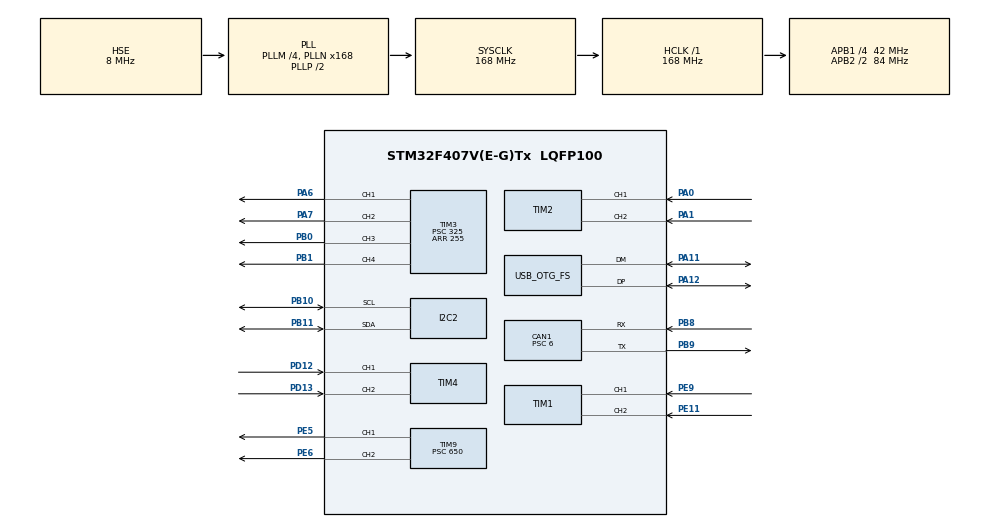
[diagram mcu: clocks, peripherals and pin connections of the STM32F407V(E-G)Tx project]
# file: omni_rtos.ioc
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CAN1.BS1=CAN_BS1_11TQ
CAN1.BS2=CAN_BS2_2TQ
CAN1.CalculateBaudRate=500000
CAN1.CalculateTimeBit=2000
CAN1.CalculateTimeQuantum=142.85714285714286
CAN1.Prescaler=6
FREERTOS.BinarySemaphores01=canBinarySem,Dynamic,NULL,Available
FREERTOS.Tasks01=imuTask,40,128,StartIMUTask,Default,NULL,Dynamic,NULL,NULL;canTask,40,128,StartCANTask,Default,NULL,Dynamic,NULL,NULL;pidTask,40,128,StartpidTask,Default,NULL,Dynamic,NULL,NULL;motorTask,8,128,StartmotorTask,Default,NULL,Dynamic,NULL,NULL;printTask,8,1024,StartprintTask,Default,NULL,Dynamic,NULL,NULL
Mcu.Family=STM32F4
Mcu.Name=STM32F407V(E-G)Tx
Mcu.Package=LQFP100
NVIC.CAN1_RX0_IRQn=true\:5\:0\:false\:false\:true\:true\:true\:true\:true
NVIC.OTG_FS_IRQn=true\:5\:0\:false\:false\:true\:true\:false\:true\:true
NVIC.PriorityGroup=NVIC_PRIORITYGROUP_4
NVIC.TIM5_IRQn=true\:5\:0\:false\:false\:true\:true\:true\:true\:true
NVIC.TIM8_TRG_COM_TIM14_IRQn=true\:15\:0\:false\:false\:true\:false\:false\:true\:true
NVIC.TimeBase=TIM8_TRG_COM_TIM14_IRQn
NVIC.TimeBaseIP=TIM14
PA0-WKUP.Signal=S_TIM2_CH1_ETR
PA1.Signal=S_TIM2_CH2
PA11.Mode=Device_Only
PA11.Signal=USB_OTG_FS_DM
PA12.Mode=Device_Only
PA12.Signal=USB_OTG_FS_DP
PA13.Mode=Serial_Wire
PA13.Signal=SYS_JTMS-SWDIO
PA14.Mode=Serial_Wire
PA14.Signal=SYS_JTCK-SWCLK
PA6.Signal=S_TIM3_CH1
PA7.Signal=S_TIM3_CH2
PB0.Signal=S_TIM3_CH3
PB1.Signal=S_TIM3_CH4
PB10.Mode=I2C
PB10.Signal=I2C2_SCL
PB11.Mode=I2C
PB11.Signal=I2C2_SDA
PB8.Mode=CAN_Activate
PB8.Signal=CAN1_RX
PB9.Mode=CAN_Activate
PB9.Signal=CAN1_TX
PC14-OSC32_IN.Mode=LSE-External-Oscillator
PC14-OSC32_IN.Signal=RCC_OSC32_IN
PC15-OSC32_OUT.Mode=LSE-External-Oscillator
PC15-OSC32_OUT.Signal=RCC_OSC32_OUT
PD12.Signal=S_TIM4_CH1
PD13.Signal=S_TIM4_CH2
PE11.Signal=S_TIM1_CH2
PE5.Signal=S_TIM9_CH1
PE6.Signal=S_TIM9_CH2
PE9.Signal=S_TIM1_CH1
PH0-OSC_IN.Mode=HSE-External-Oscillator
PH0-OSC_IN.Signal=RCC_OSC_IN
PH1-OSC_OUT.Mode=HSE-External-Oscillator
PH1-OSC_OUT.Signal=RCC_OSC_OUT
ProjectManager.HeapSize=0x200
ProjectManager.StackSize=0x400
ProjectManager.TargetToolchain=STM32CubeIDE
RCC.48MHZClocksFreq_Value=48000000
RCC.AHBFreq_Value=168000000
RCC.APB1CLKDivider=RCC_HCLK_DIV4
RCC.APB1Freq_Value=42000000
RCC.APB1TimFreq_Value=84000000
RCC.APB2CLKDivider=RCC_HCLK_DIV2
RCC.APB2Freq_Value=84000000
RCC.APB2TimFreq_Value=168000000
RCC.CortexFreq_Value=168000000
RCC.HCLKFreq_Value=168000000
RCC.HSE_VALUE=8000000
RCC.HSI_VALUE=16000000
RCC.PLLM=4
RCC.PLLN=168
RCC.PLLQ=7
RCC.SYSCLKFreq_VALUE=168000000
RCC.SYSCLKSource=RCC_SYSCLKSOURCE_PLLCLK
RCC.VCOOutputFreq_Value=336000000
SH.S_TIM1_CH1.0=TIM1_CH1,Encoder_Interface
SH.S_TIM1_CH2.0=TIM1_CH2,Encoder_Interface
SH.S_TIM2_CH1_ETR.0=TIM2_CH1,Encoder_Interface
SH.S_TIM2_CH2.0=TIM2_CH2,Encoder_Interface
SH.S_TIM3_CH1.0=TIM3_CH1,PWM Generation1 CH1
SH.S_TIM3_CH2.0=TIM3_CH2,PWM Generation2 CH2
SH.S_TIM3_CH3.0=TIM3_CH3,PWM Generation3 CH3
SH.S_TIM3_CH4.0=TIM3_CH4,PWM Generation4 CH4
SH.S_TIM4_CH1.0=TIM4_CH1,Encoder_Interface
SH.S_TIM4_CH2.0=TIM4_CH2,Encoder_Interface
SH.S_TIM9_CH1.0=TIM9_CH1,PWM Generation1 CH1
SH.S_TIM9_CH2.0=TIM9_CH2,PWM Generation2 CH2
TIM1.EncoderMode=TIM_ENCODERMODE_TI12
TIM1.IC1Filter=5
TIM1.IC2Filter=5
TIM2.EncoderMode=TIM_ENCODERMODE_TI12
TIM2.IC1Filter=5
TIM2.IC2Filter=5
TIM3.Channel-PWM\ Generation1\ CH1=TIM_CHANNEL_1
TIM3.Channel-PWM\ Generation2\ CH2=TIM_CHANNEL_2
TIM3.Channel-PWM\ Generation3\ CH3=TIM_CHANNEL_3
TIM3.Channel-PWM\ Generation4\ CH4=TIM_CHANNEL_4
TIM3.Period=255
TIM3.Prescaler=325
TIM4.EncoderMode=TIM_ENCODERMODE_TI12
TIM4.IC1Filter=5
TIM5.Period=100-1
TIM5.Prescaler=8400-1
TIM9.Channel-PWM\ Generation1\ CH1=TIM_CHANNEL_1
TIM9.Channel-PWM\ Generation2\ CH2=TIM_CHANNEL_2
TIM9.Period=255
TIM9.Prescaler=650
USB_DEVICE.CLASS_NAME_FS=CDC
USB_DEVICE.VirtualMode-CDC_FS=Cdc
USB_DEVICE.VirtualModeFS=Cdc_FS
USB_OTG_FS.VirtualMode=Device_Only
VP_FREERTOS_VS_CMSIS_V2.Mode=CMSIS_V2
VP_SYS_VS_tim14.Mode=TIM14
VP_TIM3_VS_ClockSourceINT.Mode=Internal
VP_TIM5_VS_ClockSourceINT.Mode=Internal
VP_TIM9_VS_ClockSourceINT.Mode=Internal
VP_USB_DEVICE_VS_USB_DEVICE_CDC_FS.Mode=CDC_FS
board=STM32F407G-DISC1

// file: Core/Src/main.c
/* USER CODE BEGIN Header */
/**
  ******************************************************************************
  * @file           : main.c
  * @brief          : Main program body
  ******************************************************************************
  * @attention
  *
  * Copyright (c) 2026 STMicroelectronics.
  * All rights reserved.
  *
  * This software is licensed under terms that can be found in the LICENSE file
  * in the root directory of this software component.
  * If no LICENSE file comes with this software, it is provided AS-IS.
  *
  ******************************************************************************
  */
/* USER CODE END Header */
#include "main.h"
#include "cmsis_os.h"
#include "usb_device.h"

/* USER CODE BEGIN Includes */

#include<stdio.h>
#include<stdbool.h>
#include<stdint.h>
#include<string.h>
#include<math.h>
#include<stdlib.h>
//#include"Encoderlib.h"

/* USER CODE END Includes */

/* USER CODE BEGIN PD */

#define BNO055_ADDR (0x28 << 1)
#define PWR_MODE 0x3E
#define OPR_MODE 0x3D
#define EUL_DATA_START 0x1A

#define data_size 5
#define slave_addr 8

#define MAX_PWM 70
#define DEADZONE 35
#define radius 1
#define length 1
volatile int L_joystick_x = 0, L_joystick_y = 0, R_joystick_x = 0, R_joystick_y = 0;

volatile bool right;
volatile bool down;
volatile bool up;
volatile bool left;
volatile bool square;
volatile bool cross;
volatile bool circle;
volatile bool triangle;

volatile int16_t omega;
volatile bool flag = true;
volatile bool pid = false;

volatile float p, i = 0, d;
volatile float KP = 2;
volatile float KI = 0;
volatile float KD = 0.5;

volatile int pwm1, pwm2, pwm3;

volatile float target_heading = 0;
volatile float current_heading = 0;
volatile float CORRECTION = 0;

/* USER CODE END PD */

CAN_HandleTypeDef hcan1;

I2C_HandleTypeDef hi2c2;

TIM_HandleTypeDef htim1;
TIM_HandleTypeDef htim2;
TIM_HandleTypeDef htim3;
TIM_HandleTypeDef htim4;
TIM_HandleTypeDef htim5;
TIM_HandleTypeDef htim9;

/* Definitions for imuTask */
osThreadId_t imuTaskHandle;
const osThreadAttr_t imuTask_attributes = {
  .name = "imuTask",
  .stack_size = 128 * 4,
  .priority = (osPriority_t) osPriorityHigh,
};
/* Definitions for canTask */
osThreadId_t canTaskHandle;
const osThreadAttr_t canTask_attributes = {
  .name = "canTask",
  .stack_size = 128 * 4,
  .priority = (osPriority_t) osPriorityHigh,
};
/* Definitions for pidTask */
osThreadId_t pidTaskHandle;
const osThreadAttr_t pidTask_attributes = {
  .name = "pidTask",
  .stack_size = 128 * 4,
  .priority = (osPriority_t) osPriorityHigh,
};
/* Definitions for motorTask */
osThreadId_t motorTaskHandle;
const osThreadAttr_t motorTask_attributes = {
  .name = "motorTask",
  .stack_size = 128 * 4,
  .priority = (osPriority_t) osPriorityLow,
};
/* Definitions for printTask */
osThreadId_t printTaskHandle;
const osThreadAttr_t printTask_attributes = {
  .name = "printTask",
  .stack_size = 1024 * 4,
  .priority = (osPriority_t) osPriorityLow,
};
/* Definitions for canBinarySem */
osSemaphoreId_t canBinarySemHandle;
const osSemaphoreAttr_t canBinarySem_attributes = {
  .name = "canBinarySem"
};

void SystemClock_Config(void);
static void MX_GPIO_Init(void);
static void MX_CAN1_Init(void);
static void MX_TIM3_Init(void);
static void MX_TIM9_Init(void);
static void MX_TIM5_Init(void);
static void MX_I2C2_Init(void);
static void MX_TIM1_Init(void);
static void MX_TIM2_Init(void);
static void MX_TIM4_Init(void);
void StartIMUTask(void *argument);
void StartCANTask(void *argument);
void StartpidTask(void *argument);
void StartmotorTask(void *argument);
void StartprintTask(void *argument);

/* USER CODE BEGIN 0 */

CAN_FilterTypeDef sFilterConfig;
CAN_RxHeaderTypeDef RxHeader;
uint8_t RxData[8];
uint32_t blink_delay;
uint8_t msg[100];

float radians(float angle){
  	return angle*2*3.14159265358979323846/360.0;
  }

  float degrees(float angle){
  	return angle*360.0/(2*3.14159265358979323846);
  }

  long map(long x, long in_min, long in_max, long out_min, long out_max)
  {
    return (x - in_min) * (out_max - out_min) / (in_max - in_min) + out_min;
  }

  float constrain(float num, float min, float max){

  	if(num > max) {
  		return max;
  	}

  	else if(num < min){
  		return min;
  	}

  	else {
  		return num;
  	}
  }

void BNO055_init(){

  uint8_t pwr = 0x00;
  uint8_t opr = 0x0C;
  uint8_t config = 0x00;

        HAL_I2C_Mem_Write(&hi2c2, BNO055_ADDR, OPR_MODE, 1, &config, 1, 100); // setting to config mode
 	HAL_I2C_Mem_Write(&hi2c2, BNO055_ADDR, PWR_MODE, 1, &pwr, 1, 100);  // setting bno055 to normal mode
 	HAL_I2C_Mem_Write(&hi2c2, BNO055_ADDR, OPR_MODE, 1, &opr, 1, 100); // setting to Ndof mode

 	//HAL_Delay(700);

 }

 float normalise_angle(float angle)
 {
     if(angle > 180.0)  {
   	  angle -= 360.0;
     }
     if(angle < -180.0) {
   	  angle += 360.0;
     }
     return angle;
 }

 void decode_buttons(){

    static uint8_t L2;
    static uint8_t R2;

         L_joystick_x = map(RxData[0], 0, 255, 127, -127);
    		  L_joystick_y = map(RxData[1], 0, 255, 127, -127);

    		    	right = ((RxData[2] & (1 << 0)) ? 1 : 0);
    		       down = ((RxData[2] & (1 << 1)) ? 1 : 0);
    		    	     up = ((RxData[2] & (1 << 2)) ? 1 : 0);
    		    	     left = ((RxData[2] & (1 << 3)) ? 1 : 0);
    		    	     square = ((RxData[2] & (1 << 4)) ? 1 : 0);
    		    	     cross = ((RxData[2] & (1 << 5)) ? 1 : 0);
    		    	     circle = ((RxData[2] & (1 << 6)) ? 1 : 0);
    		    	     triangle = ((RxData[2] & (1 << 7)) ? 1 : 0);

    		    	     L2 = RxData[3];
    		    	     R2 = RxData[4];

    		    	     omega = map(L2-R2, -255, 255, 40, -40);

    		    	   if(abs(L_joystick_x) < DEADZONE)
    		    	 	  {
    		    	 		  L_joystick_x = 0;
    		    	 	  }
    		    	 	  if(abs(L_joystick_y) < DEADZONE)
    		    	 		  {
    		    	 			  L_joystick_y = 0;
    		    	 		  }
    		    	 	  if(abs(omega) < DEADZONE)
    		    	 		  {
    		    	 			  omega = 0;
    		    	 		  }

    				  if(omega){
    						  		  pid = false;
    						  		  flag = true;
    						  	  }

    						  	 if(!omega && flag){
    						  		 flag = false;
    						  		 pid = true;
    						  		 target_heading = current_heading;
    						  	 }

 }

 void motor1(int speed){

	  if(speed > 0){
		  TIM3->CCR1 = speed;          //PA6
		  TIM3->CCR2 = 0;               //PA7

	  }

	  else{
		  TIM3->CCR1 = 0;
		  TIM3->CCR2 = -1*speed;

	  }

 }

 void motor2(int speed){

	  if(speed > 0){
		  TIM3->CCR3 = speed;          //PB0
		  TIM3->CCR4 = 0;                //PB1

	  }

	  else{
		  TIM3->CCR3 = 0;
		  TIM3->CCR4 = -1*speed;

	  }

  }

 void motor3(int speed){

	  if(speed > 0){
		  TIM9->CCR1 = speed;     //PE5
		  TIM9->CCR2 = 0;         //PE6
	  }

	  else{
		  TIM9->CCR1 = 0;
		  TIM9->CCR2 = -1*speed;

	  }

  }

/* USER CODE END 0 */

int main(void)
{

  /* MCU Configuration--------------------------------------------------------*/

  /* Reset of all peripherals, Initializes the Flash interface and the Systick. */
  HAL_Init();

  /* Configure the system clock */
  SystemClock_Config();

  /* Initialize all configured peripherals */
  MX_GPIO_Init();
  MX_CAN1_Init();
  MX_TIM3_Init();
  MX_TIM9_Init();
  MX_TIM5_Init();
  MX_I2C2_Init();
  MX_TIM1_Init();
  MX_TIM2_Init();
  MX_TIM4_Init();
  /* USER CODE BEGIN 2 */

   sFilterConfig.FilterBank = 0;
   sFilterConfig.FilterMode = CAN_FILTERMODE_IDMASK;
   sFilterConfig.FilterScale = CAN_FILTERSCALE_32BIT;
   sFilterConfig.FilterIdHigh = 0x0000;                      //0x123 << 5 to accept only id 123
   sFilterConfig.FilterIdLow = 0x0000;
   sFilterConfig.FilterMaskIdHigh = 0x0000;                  // 0x7FF << 5 to accept only id 123
   sFilterConfig.FilterMaskIdLow = 0x0000;
   sFilterConfig.FilterFIFOAssignment = CAN_RX_FIFO0;
   sFilterConfig.FilterActivation = ENABLE;

   HAL_CAN_ConfigFilter(&hcan1, &sFilterConfig);

   // THEN start CAN
   HAL_CAN_Start(&hcan1);

   // THEN activate interrupt
    HAL_CAN_ActivateNotification(&hcan1, CAN_IT_RX_FIFO0_MSG_PENDING);

  BNO055_init();
  HAL_Delay(700);

  /* USER CODE END 2 */

  /* Init scheduler */
  osKernelInitialize();

  /* Create the semaphores(s) */
  /* creation of canBinarySem */
  canBinarySemHandle = osSemaphoreNew(1, 1, &canBinarySem_attributes);

  /* Create the thread(s) */
  /* creation of imuTask */
  imuTaskHandle = osThreadNew(StartIMUTask, NULL, &imuTask_attributes);

  /* creation of canTask */
  canTaskHandle = osThreadNew(StartCANTask, NULL, &canTask_attributes);

  /* creation of pidTask */
  pidTaskHandle = osThreadNew(StartpidTask, NULL, &pidTask_attributes);

  /* creation of motorTask */
  motorTaskHandle = osThreadNew(StartmotorTask, NULL, &motorTask_attributes);

  /* creation of printTask */
  printTaskHandle = osThreadNew(StartprintTask, NULL, &printTask_attributes);

  /* Start scheduler */
  osKernelStart();

  /* We should never get here as control is now taken by the scheduler */

  /* Infinite loop */
  while (1)
  {

  }
}

void SystemClock_Config(void)
{
  RCC_OscInitTypeDef RCC_OscInitStruct = {0};
  RCC_ClkInitTypeDef RCC_ClkInitStruct = {0};

  /** Configure the main internal regulator output voltage
  */
  __HAL_RCC_PWR_CLK_ENABLE();
  __HAL_PWR_VOLTAGESCALING_CONFIG(PWR_REGULATOR_VOLTAGE_SCALE1);

  /** Initializes the RCC Oscillators according to the specified parameters
  * in the RCC_OscInitTypeDef structure.
  */
  RCC_OscInitStruct.OscillatorType = RCC_OSCILLATORTYPE_HSE;
  RCC_OscInitStruct.HSEState = RCC_HSE_ON;
  RCC_OscInitStruct.PLL.PLLState = RCC_PLL_ON;
  RCC_OscInitStruct.PLL.PLLSource = RCC_PLLSOURCE_HSE;
  RCC_OscInitStruct.PLL.PLLM = 4;
  RCC_OscInitStruct.PLL.PLLN = 168;
  RCC_OscInitStruct.PLL.PLLP = RCC_PLLP_DIV2;
  RCC_OscInitStruct.PLL.PLLQ = 7;
  if (HAL_RCC_OscConfig(&RCC_OscInitStruct) != HAL_OK)
  {
    Error_Handler();
  }

  /** Initializes the CPU, AHB and APB buses clocks
  */
  RCC_ClkInitStruct.ClockType = RCC_CLOCKTYPE_HCLK|RCC_CLOCKTYPE_SYSCLK
                              |RCC_CLOCKTYPE_PCLK1|RCC_CLOCKTYPE_PCLK2;
  RCC_ClkInitStruct.SYSCLKSource = RCC_SYSCLKSOURCE_PLLCLK;
  RCC_ClkInitStruct.AHBCLKDivider = RCC_SYSCLK_DIV1;
  RCC_ClkInitStruct.APB1CLKDivider = RCC_HCLK_DIV4;
  RCC_ClkInitStruct.APB2CLKDivider = RCC_HCLK_DIV2;

  if (HAL_RCC_ClockConfig(&RCC_ClkInitStruct, FLASH_LATENCY_5) != HAL_OK)
  {
    Error_Handler();
  }
}

static void MX_CAN1_Init(void)
{

  hcan1.Instance = CAN1;
  hcan1.Init.Prescaler = 6;
  hcan1.Init.Mode = CAN_MODE_NORMAL;
  hcan1.Init.SyncJumpWidth = CAN_SJW_1TQ;
  hcan1.Init.TimeSeg1 = CAN_BS1_11TQ;
  hcan1.Init.TimeSeg2 = CAN_BS2_2TQ;
  hcan1.Init.TimeTriggeredMode = DISABLE;
  hcan1.Init.AutoBusOff = DISABLE;
  hcan1.Init.AutoWakeUp = DISABLE;
  hcan1.Init.AutoRetransmission = DISABLE;
  hcan1.Init.ReceiveFifoLocked = DISABLE;
  hcan1.Init.TransmitFifoPriority = DISABLE;
  if (HAL_CAN_Init(&hcan1) != HAL_OK)
  {
    Error_Handler();
  }

}

static void MX_I2C2_Init(void)
{

  hi2c2.Instance = I2C2;
  hi2c2.Init.ClockSpeed = 100000;
  hi2c2.Init.DutyCycle = I2C_DUTYCYCLE_2;
  hi2c2.Init.OwnAddress1 = 0;
  hi2c2.Init.AddressingMode = I2C_ADDRESSINGMODE_7BIT;
  hi2c2.Init.DualAddressMode = I2C_DUALADDRESS_DISABLE;
  hi2c2.Init.OwnAddress2 = 0;
  hi2c2.Init.GeneralCallMode = I2C_GENERALCALL_DISABLE;
  hi2c2.Init.NoStretchMode = I2C_NOSTRETCH_DISABLE;
  if (HAL_I2C_Init(&hi2c2) != HAL_OK)
  {
    Error_Handler();
  }

}

static void MX_TIM1_Init(void)
{

  TIM_Encoder_InitTypeDef sConfig = {0};
  TIM_MasterConfigTypeDef sMasterConfig = {0};

  htim1.Instance = TIM1;
  htim1.Init.Prescaler = 0;
  htim1.Init.CounterMode = TIM_COUNTERMODE_UP;
  htim1.Init.Period = 65535;
  htim1.Init.ClockDivision = TIM_CLOCKDIVISION_DIV1;
  htim1.Init.RepetitionCounter = 0;
  htim1.Init.AutoReloadPreload = TIM_AUTORELOAD_PRELOAD_DISABLE;
  sConfig.EncoderMode = TIM_ENCODERMODE_TI12;
  sConfig.IC1Polarity = TIM_ICPOLARITY_RISING;
  sConfig.IC1Selection = TIM_ICSELECTION_DIRECTTI;
  sConfig.IC1Prescaler = TIM_ICPSC_DIV1;
  sConfig.IC1Filter = 5;
  sConfig.IC2Polarity = TIM_ICPOLARITY_RISING;
  sConfig.IC2Selection = TIM_ICSELECTION_DIRECTTI;
  sConfig.IC2Prescaler = TIM_ICPSC_DIV1;
  sConfig.IC2Filter = 5;
  if (HAL_TIM_Encoder_Init(&htim1, &sConfig) != HAL_OK)
  {
    Error_Handler();
  }
  sMasterConfig.MasterOutputTrigger = TIM_TRGO_RESET;
  sMasterConfig.MasterSlaveMode = TIM_MASTERSLAVEMODE_DISABLE;
  if (HAL_TIMEx_MasterConfigSynchronization(&htim1, &sMasterConfig) != HAL_OK)
  {
    Error_Handler();
  }

}

static void MX_TIM2_Init(void)
{

  TIM_Encoder_InitTypeDef sConfig = {0};
  TIM_MasterConfigTypeDef sMasterConfig = {0};

  htim2.Instance = TIM2;
  htim2.Init.Prescaler = 0;
  htim2.Init.CounterMode = TIM_COUNTERMODE_UP;
  htim2.Init.Period = 4294967295;
  htim2.Init.ClockDivision = TIM_CLOCKDIVISION_DIV1;
  htim2.Init.AutoReloadPreload = TIM_AUTORELOAD_PRELOAD_DISABLE;
  sConfig.EncoderMode = TIM_ENCODERMODE_TI12;
  sConfig.IC1Polarity = TIM_ICPOLARITY_RISING;
  sConfig.IC1Selection = TIM_ICSELECTION_DIRECTTI;
  sConfig.IC1Prescaler = TIM_ICPSC_DIV1;
  sConfig.IC1Filter = 5;
  sConfig.IC2Polarity = TIM_ICPOLARITY_RISING;
  sConfig.IC2Selection = TIM_ICSELECTION_DIRECTTI;
  sConfig.IC2Prescaler = TIM_ICPSC_DIV1;
  sConfig.IC2Filter = 5;
  if (HAL_TIM_Encoder_Init(&htim2, &sConfig) != HAL_OK)
  {
    Error_Handler();
  }
  sMasterConfig.MasterOutputTrigger = TIM_TRGO_RESET;
  sMasterConfig.MasterSlaveMode = TIM_MASTERSLAVEMODE_DISABLE;
  if (HAL_TIMEx_MasterConfigSynchronization(&htim2, &sMasterConfig) != HAL_OK)
  {
    Error_Handler();
  }

}

static void MX_TIM3_Init(void)
{

  TIM_ClockConfigTypeDef sClockSourceConfig = {0};
  TIM_MasterConfigTypeDef sMasterConfig = {0};
  TIM_OC_InitTypeDef sConfigOC = {0};

  htim3.Instance = TIM3;
  htim3.Init.Prescaler = 325;
  htim3.Init.CounterMode = TIM_COUNTERMODE_UP;
  htim3.Init.Period = 255;
  htim3.Init.ClockDivision = TIM_CLOCKDIVISION_DIV1;
  htim3.Init.AutoReloadPreload = TIM_AUTORELOAD_PRELOAD_DISABLE;
  if (HAL_TIM_Base_Init(&htim3) != HAL_OK)
  {
    Error_Handler();
  }
  sClockSourceConfig.ClockSource = TIM_CLOCKSOURCE_INTERNAL;
  if (HAL_TIM_ConfigClockSource(&htim3, &sClockSourceConfig) != HAL_OK)
  {
    Error_Handler();
  }
  if (HAL_TIM_PWM_Init(&htim3) != HAL_OK)
  {
    Error_Handler();
  }
  sMasterConfig.MasterOutputTrigger = TIM_TRGO_RESET;
  sMasterConfig.MasterSlaveMode = TIM_MASTERSLAVEMODE_DISABLE;
  if (HAL_TIMEx_MasterConfigSynchronization(&htim3, &sMasterConfig) != HAL_OK)
  {
    Error_Handler();
  }
  sConfigOC.OCMode = TIM_OCMODE_PWM1;
  sConfigOC.Pulse = 0;
  sConfigOC.OCPolarity = TIM_OCPOLARITY_HIGH;
  sConfigOC.OCFastMode = TIM_OCFAST_DISABLE;
  if (HAL_TIM_PWM_ConfigChannel(&htim3, &sConfigOC, TIM_CHANNEL_1) != HAL_OK)
  {
    Error_Handler();
  }
  if (HAL_TIM_PWM_ConfigChannel(&htim3, &sConfigOC, TIM_CHANNEL_2) != HAL_OK)
  {
    Error_Handler();
  }
  if (HAL_TIM_PWM_ConfigChannel(&htim3, &sConfigOC, TIM_CHANNEL_3) != HAL_OK)
  {
    Error_Handler();
  }
  if (HAL_TIM_PWM_ConfigChannel(&htim3, &sConfigOC, TIM_CHANNEL_4) != HAL_OK)
  {
    Error_Handler();
  }
  HAL_TIM_MspPostInit(&htim3);

}

static void MX_TIM4_Init(void)
{

  TIM_Encoder_InitTypeDef sConfig = {0};
  TIM_MasterConfigTypeDef sMasterConfig = {0};

  htim4.Instance = TIM4;
  htim4.Init.Prescaler = 0;
  htim4.Init.CounterMode = TIM_COUNTERMODE_UP;
  htim4.Init.Period = 65535;
  htim4.Init.ClockDivision = TIM_CLOCKDIVISION_DIV1;
  htim4.Init.AutoReloadPreload = TIM_AUTORELOAD_PRELOAD_DISABLE;
  sConfig.EncoderMode = TIM_ENCODERMODE_TI12;
  sConfig.IC1Polarity = TIM_ICPOLARITY_RISING;
  sConfig.IC1Selection = TIM_ICSELECTION_DIRECTTI;
  sConfig.IC1Prescaler = TIM_ICPSC_DIV1;
  sConfig.IC1Filter = 5;
  sConfig.IC2Polarity = TIM_ICPOLARITY_RISING;
  sConfig.IC2Selection = TIM_ICSELECTION_DIRECTTI;
  sConfig.IC2Prescaler = TIM_ICPSC_DIV1;
  sConfig.IC2Filter = 0;
  if (HAL_TIM_Encoder_Init(&htim4, &sConfig) != HAL_OK)
  {
    Error_Handler();
  }
  sMasterConfig.MasterOutputTrigger = TIM_TRGO_RESET;
  sMasterConfig.MasterSlaveMode = TIM_MASTERSLAVEMODE_DISABLE;
  if (HAL_TIMEx_MasterConfigSynchronization(&htim4, &sMasterConfig) != HAL_OK)
  {
    Error_Handler();
  }

}

static void MX_TIM5_Init(void)
{

  TIM_ClockConfigTypeDef sClockSourceConfig = {0};
  TIM_MasterConfigTypeDef sMasterConfig = {0};

  htim5.Instance = TIM5;
  htim5.Init.Prescaler = 8400-1;
  htim5.Init.CounterMode = TIM_COUNTERMODE_UP;
  htim5.Init.Period = 100-1;
  htim5.Init.ClockDivision = TIM_CLOCKDIVISION_DIV1;
  htim5.Init.AutoReloadPreload = TIM_AUTORELOAD_PRELOAD_DISABLE;
  if (HAL_TIM_Base_Init(&htim5) != HAL_OK)
  {
    Error_Handler();
  }
  sClockSourceConfig.ClockSource = TIM_CLOCKSOURCE_INTERNAL;
  if (HAL_TIM_ConfigClockSource(&htim5, &sClockSourceConfig) != HAL_OK)
  {
    Error_Handler();
  }
  sMasterConfig.MasterOutputTrigger = TIM_TRGO_RESET;
  sMasterConfig.MasterSlaveMode = TIM_MASTERSLAVEMODE_DISABLE;
  if (HAL_TIMEx_MasterConfigSynchronization(&htim5, &sMasterConfig) != HAL_OK)
  {
    Error_Handler();
  }

}

static void MX_TIM9_Init(void)
{

  TIM_ClockConfigTypeDef sClockSourceConfig = {0};
  TIM_OC_InitTypeDef sConfigOC = {0};

  htim9.Instance = TIM9;
  htim9.Init.Prescaler = 650;
  htim9.Init.CounterMode = TIM_COUNTERMODE_UP;
  htim9.Init.Period = 255;
  htim9.Init.ClockDivision = TIM_CLOCKDIVISION_DIV1;
  htim9.Init.AutoReloadPreload = TIM_AUTORELOAD_PRELOAD_DISABLE;
  if (HAL_TIM_Base_Init(&htim9) != HAL_OK)
  {
    Error_Handler();
  }
  sClockSourceConfig.ClockSource = TIM_CLOCKSOURCE_INTERNAL;
  if (HAL_TIM_ConfigClockSource(&htim9, &sClockSourceConfig) != HAL_OK)
  {
    Error_Handler();
  }
  if (HAL_TIM_PWM_Init(&htim9) != HAL_OK)
  {
    Error_Handler();
  }
  sConfigOC.OCMode = TIM_OCMODE_PWM1;
  sConfigOC.Pulse = 0;
  sConfigOC.OCPolarity = TIM_OCPOLARITY_HIGH;
  sConfigOC.OCFastMode = TIM_OCFAST_DISABLE;
  if (HAL_TIM_PWM_ConfigChannel(&htim9, &sConfigOC, TIM_CHANNEL_1) != HAL_OK)
  {
    Error_Handler();
  }
  if (HAL_TIM_PWM_ConfigChannel(&htim9, &sConfigOC, TIM_CHANNEL_2) != HAL_OK)
  {
    Error_Handler();
  }
  HAL_TIM_MspPostInit(&htim9);

}

static void MX_GPIO_Init(void)
{

  /* GPIO Ports Clock Enable */
  __HAL_RCC_GPIOE_CLK_ENABLE();
  __HAL_RCC_GPIOC_CLK_ENABLE();
  __HAL_RCC_GPIOH_CLK_ENABLE();
  __HAL_RCC_GPIOA_CLK_ENABLE();
  __HAL_RCC_GPIOB_CLK_ENABLE();
  __HAL_RCC_GPIOD_CLK_ENABLE();

}

/* USER CODE BEGIN 4 */

void HAL_CAN_RxFifo0MsgPendingCallback(CAN_HandleTypeDef *hcan)
{
    if(HAL_CAN_GetRxMessage(hcan, CAN_RX_FIFO0, &RxHeader, RxData) == HAL_OK)
    {
        if(RxHeader.StdId == 0x123)
        {
            osSemaphoreRelease(canBinarySemHandle);
        }
    }
}

/* USER CODE END 4 */

void StartIMUTask(void *argument)
{
  /* init code for USB_DEVICE */
  MX_USB_DEVICE_Init();
  /* USER CODE BEGIN 5 */

  uint32_t tick = osKernelGetTickCount();
  uint16_t freq = 100;
  int period = 1000/freq;
  uint8_t bno_data[6];

  /* Infinite loop */
  for(;;)
  {

      if(HAL_I2C_Mem_Read(&hi2c2, BNO055_ADDR, EUL_DATA_START, 1, bno_data, 6, 100) == HAL_OK){

       	    int16_t heading_raw = (int16_t)((bno_data[1] << 8) | bno_data[0]);
       	    current_heading = heading_raw / 16.0;
       	    current_heading = -normalise_angle(current_heading);

       	 }

      tick += period;
      osDelayUntil(tick);

  }
  /* USER CODE END 5 */
}

void StartCANTask(void *argument)
{
  /* USER CODE BEGIN StartCANTask */
  /* Infinite loop */

  for(;;)
  {

      if (osSemaphoreAcquire(canBinarySemHandle, osWaitForever) == osOK){
               decode_buttons();
      }

  }
  /* USER CODE END StartCANTask */
}

void StartpidTask(void *argument)
{
  /* USER CODE BEGIN StartpidTask */
  /* Infinite loop */
      uint32_t tick = osKernelGetTickCount();
      uint16_t freq = 100;
      int period = 1000/freq;
      const float DT = 1.0/(float)freq;

      float ERR, ERR2 = 0, D_error;

  for(;;)
  {
  if(pid){
	   ERR = normalise_angle(target_heading - current_heading);
	   D_error = ERR - ERR2;
	   ERR2 = ERR;

	  p = ERR*KP;
	  i = i + (ERR*DT*KI);
	  d = (D_error/DT)*KD;

	  CORRECTION = p+i+d;

  }

  else{

      CORRECTION = 0;
  }
          tick += period;
 	  osDelayUntil(tick);
  }
  /* USER CODE END StartpidTask */
}

void StartmotorTask(void *argument)
{
  /* USER CODE BEGIN StartmotorTask */
  /* Infinite loop */

    float bot_vel, theta;
    uint32_t tick = osKernelGetTickCount();
    uint16_t freq = 250;
    int period = 1000/(float)freq;

  for(;;)
  {

          bot_vel = sqrt( pow(L_joystick_x, 2) + pow( L_joystick_y, 2) );
     	  theta = atan2(L_joystick_y, L_joystick_x) - radians(target_heading);

     	  pwm1 = constrain(((bot_vel*cos(theta) - (length*omega)) / radius) + CORRECTION, -MAX_PWM, MAX_PWM);
     	  pwm2 = constrain(((sqrt(3)*bot_vel*sin(theta) - bot_vel*cos(theta) - 2*length*omega) / (2*radius)) + CORRECTION, -MAX_PWM, MAX_PWM);
     	  pwm3 = constrain((-1*((bot_vel*cos(theta) + sqrt(3)*bot_vel*sin(theta) + 2*length*omega) / (2*radius))) + CORRECTION, -MAX_PWM, MAX_PWM);

     	  motor1(pwm1);
     	  motor2(pwm2);
     	  motor3(pwm3);

     	  tick += period;
       	  osDelayUntil(tick);

  }
  /* USER CODE END StartmotorTask */
}

void StartprintTask(void *argument)
{
  /* USER CODE BEGIN StartprintTask */
  /* Infinite loop */
    uint32_t tick = osKernelGetTickCount();
       uint16_t freq = 50;
         int period = 1000/(float)freq;

  for(;;)
  {
      sprintf(msg, "%.2f   %d   %d   %d   %d   p = %.2f  i = %.2f   d = %.2f  \r\n"  , current_heading, pwm1, pwm2, pwm3, pid, p, i, d);
      CDC_Transmit_FS(msg, sizeof(msg));
                 tick += period;
            	  osDelayUntil(tick);

  }
  /* USER CODE END StartprintTask */
}

void HAL_TIM_PeriodElapsedCallback(TIM_HandleTypeDef *htim)
{
  if (htim->Instance == TIM14)
  {
    HAL_IncTick();
  }
}

void Error_Handler(void)
{
  __disable_irq();
  while (1)
  {
  }
}
